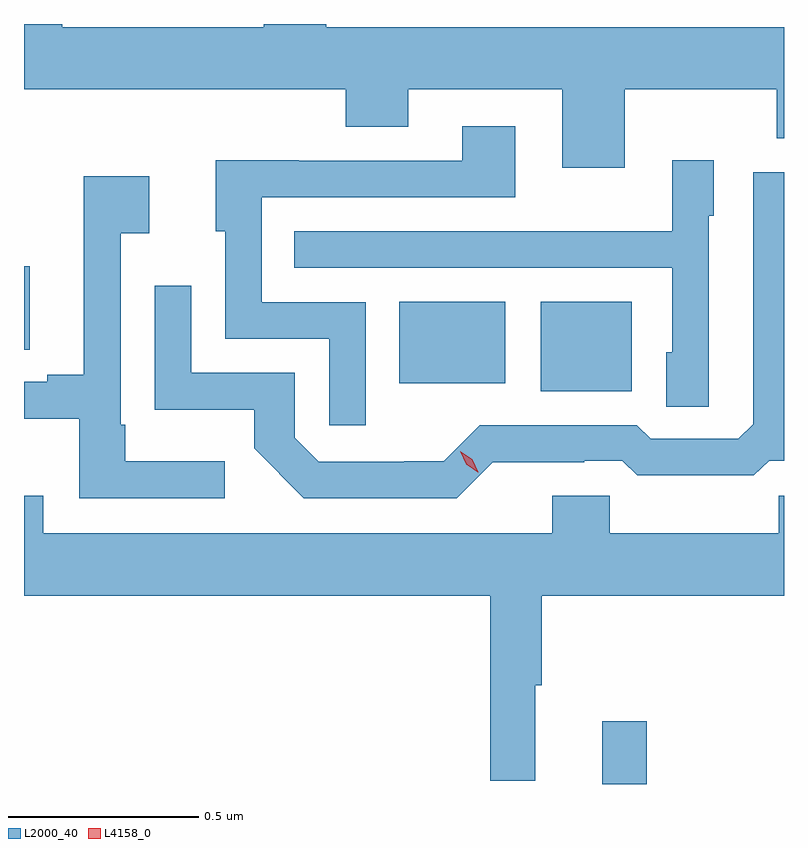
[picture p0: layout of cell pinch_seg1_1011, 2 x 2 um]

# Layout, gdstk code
import gdstk
lib = gdstk.Library(unit=1e-6, precision=1e-09)
def R(c, l, rs):  # rectangles x0, y0, x1, y1
    for r in rs: c.add(gdstk.rectangle(r[:2], r[2:], *l))
def P(c, l, *ps):  # polygons
    for p in ps: c.add(gdstk.Polygon(p, *l))
L2000_40 = (2000, 40)
L4158_0 = (4158, 0)

pinch_seg1_1011 = lib.new_cell('pinch_seg1_1011')
R(pinch_seg1_1011, L2000_40, [(323.072,580.54,323.189,580.705), (322.91,581.573,323.149,581.809), (322.538,581.594,322.816,581.809), (321.55,581.683,321.565,581.902)])
P(pinch_seg1_1011, L2000_40, [(323.131,582.368),(323.531,582.368),(323.531,582.24),(323.55,582.24),(323.55,582.532),(322.346,582.532),(322.346,582.54),(322.181,582.54),(322.181,582.532),(321.65,582.532),(321.65,582.54),(321.55,582.54),(321.55,582.368),(322.397,582.368),(322.397,582.269),(322.561,582.269),(322.561,582.368),(322.967,582.368),(322.967,582.162),(323.131,582.162)],
  [(322.449,581.808),(322.176,581.808),(322.176,582.084),(322.843,582.084),(322.843,582.271),(322.703,582.271),(322.703,582.18),(322.273,582.18),(322.273,582.182),(322.055,582.182),(322.055,581.994),(322.08,581.994),(322.08,581.712),(322.353,581.712),(322.353,581.484),(322.449,581.484)],
  [(323.352,582.036),(323.365,582.036),(323.365,582.181),(323.256,582.181),(323.256,581.995),(322.939,581.995),(322.939,581.994),(322.261,581.994),(322.261,581.898),(323.256,581.898),(323.256,581.676),(323.24,581.676),(323.24,581.533),(323.352,581.533)],
  [(322.784,581.387),(323.024,581.387),(323.024,581.391),(323.124,581.391),(323.164,581.352),(323.471,581.352),(323.511,581.391),(323.55,581.391),(323.55,582.15),(323.469,582.15),(323.469,581.487),(323.43,581.448),(323.199,581.448),(323.163,581.484),(322.749,581.484),(322.655,581.39),(322.55,581.39),(322.55,581.388),(322.326,581.388),(322.263,581.451),(322.263,581.622),(321.99,581.622),(321.99,581.851),(321.894,581.851),(321.894,581.525),(322.156,581.525),(322.156,581.423),(322.286,581.292),(322.689,581.292)],
  [(322.078,581.389),(321.817,581.389),(321.817,581.485),(321.804,581.485),(321.804,581.99),(321.88,581.99),(321.88,582.139),(321.707,582.139),(321.707,581.617),(321.611,581.617),(321.611,581.598),(321.55,581.598),(321.55,581.501),(321.696,581.501),(321.696,581.292),(322.078,581.292)],
  [(322.895,580.8),(322.913,580.8),(322.913,581.036),(323.55,581.036),(323.55,581.298),(323.536,581.298),(323.536,581.2),(323.091,581.2),(323.091,581.298),(322.94,581.298),(322.94,581.2),(321.601,581.2),(321.601,581.299),(321.55,581.299),(321.55,581.036),(322.777,581.036),(322.777,580.548),(322.895,580.548)])
P(pinch_seg1_1011, L4158_0, [(322.744,581.361),(322.714,581.382),(322.698,581.416),(322.698,581.416),(322.698,581.416),(322.729,581.395),(322.745,581.361),(322.745,581.361)])

lib.write_gds('pinch_seg1_1011.gds')
